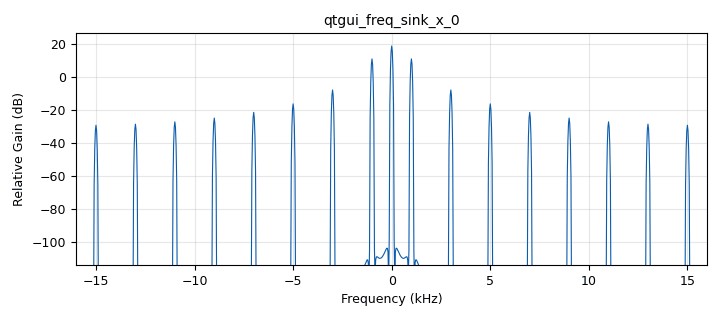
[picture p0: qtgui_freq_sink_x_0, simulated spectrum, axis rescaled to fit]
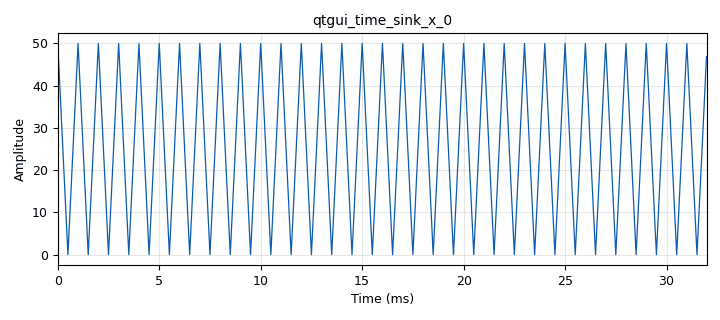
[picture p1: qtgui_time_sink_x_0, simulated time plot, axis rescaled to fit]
options:
  parameters:
    author: labcom
    generate_options: qt_gui
    id: CalculoPotencia
    output_language: python
    title: Not titled yet
  states: {}

blocks:
- name: amplitude
  id: variable_qtgui_range
  parameters:
    start: '0'
    step: '1'
    stop: '100'
    value: '50'
  states: {}
- name: samp_rate
  id: variable
  parameters:
    value: '32000'
  states: {}
- name: analog_sig_source_x_0
  id: analog_sig_source_x
  parameters:
    amp: amplitude
    freq: '1000'
    offset: '0'
    phase: '0'
    samp_rate: samp_rate
    type: float
    waveform: analog.GR_TRI_WAVE
  states: {}
- name: qtgui_freq_sink_x_0
  id: qtgui_freq_sink_x
  parameters:
    bw: samp_rate
    fc: '0'
    fftsize: '1024'
    type: float
  states: {}
- name: qtgui_time_sink_x_0
  id: qtgui_time_sink_x
  parameters:
    size: '1024'
    srate: samp_rate
    type: float
  states: {}
- name: rate_0
  id: rate
  parameters:
    l_vect: '1024'
  states: {}

connections:
- [analog_sig_source_x_0, '0', qtgui_freq_sink_x_0, '0']
- [analog_sig_source_x_0, '0', qtgui_time_sink_x_0, '0']
- [analog_sig_source_x_0, '0', rate_0, '0']

metadata:
  file_format: 1
